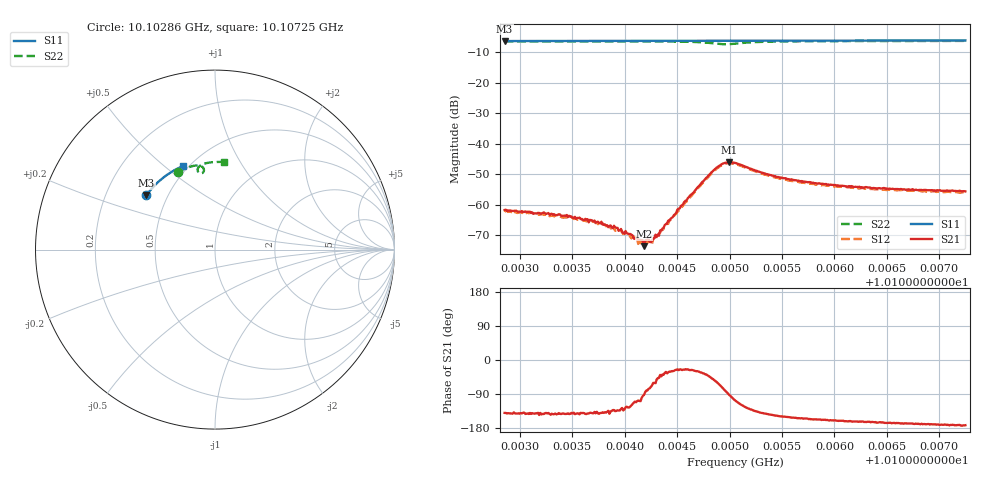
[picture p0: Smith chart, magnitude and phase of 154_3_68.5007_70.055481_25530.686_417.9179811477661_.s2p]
#  HZ  S  RI  R  50.00
! Rohde & Schwarz Vector Network Analyzer
! Rohde-Schwarz,ZNB20-2Port,1311601062101988,3.16
! Created: UTC 3/20/2024, 5:10:40 PM
! freq[Hz]  re:S11  im:S11  re:S21  im:S21  re:S12  im:S12  re:S22  im:S22
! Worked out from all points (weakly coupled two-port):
!   401 points, 10.10286 GHz to 10.10725 GHz, reference 50 ohm
!   highest |S21| = -46.09 dB at 10.105 GHz (marker M1); lowest = -73.7 dB at 10.10418 GHz (marker M2)
!   lowest |S11| = -6.2 dB at 10.10286 GHz (marker M3), VSWR 2.90, Z = 19 + j15.1 ohm
!   |S11| at or under -10 dB: nowhere
!   |S22| runs from -7.3 to -6.2 dB; largest |S21 - S12| = 0.00051
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1.0102856e10  -0.383 0.3016  -0.000621 -0.00053  -0.00056 -0.000516  -0.2083 0.4322
1.0103251e10  -0.3686 0.3207  -0.000535 -0.000453  -0.0005 -0.000471  -0.1846 0.444
1.0103592e10  -0.3554 0.3367  -0.000447 -0.000374  -0.000419 -0.000386  -0.1635 0.453
1.010369e10  -0.3516 0.3412  -0.000422 -0.000351  -0.000382 -0.000367  -0.1572 0.4553
1.0103789e10  -0.3474 0.3458  -0.000352 -0.000315  -0.000338 -0.000362  -0.1506 0.4578
1.010391e10  -0.3424 0.3512  -0.000298 -0.000297  -0.000238 -0.000287  -0.1426 0.4604
1.0104097e10  -0.3346 0.3594  -9.29e-05 -0.000257  -7.97e-05 -0.000253  -0.1291 0.4643
1.010413e10  -0.3332 0.3608  -7.69e-05 -0.00025  -6.42e-05 -0.000217  -0.1267 0.4649
1.0104163e10  -0.3318 0.3622  -4.47e-05 -0.000257  5.63e-06 -0.000253  -0.1242 0.4655
1.0104185e10  -0.331 0.3631  -7.66e-06 -0.000207  -8.66e-07 -0.000223  -0.1225 0.4659
1.0104251e10  -0.328 0.366  7.97e-05 -0.000228  0.0001 -0.000199  -0.1176 0.4669
1.0104327e10  -0.3246 0.3691  0.000209 -0.000227  0.000246 -0.00023  -0.1113 0.4678
1.0104558e10  -0.3144 0.3788  0.000922 -0.00044  0.00091 -0.000331  -0.0895 0.4682
1.0104822e10  -0.3022 0.3893  0.00228 -0.00239  0.00237 -0.00207  -0.0621 0.4473
1.010491e10  -0.2983 0.3924  0.00176 -0.00407  0.00203 -0.00376  -0.0661 0.4303
1.0104997e10  -0.2942 0.3957  -0.000176 -0.00496  0.000281 -0.00481  -0.0842 0.4254
1.0105052e10  -0.2918 0.3979  -0.00138 -0.00464  -0.000882 -0.00457  -0.0933 0.4323
1.0105426e10  -0.2739 0.4117  -0.00243 -0.00163  -0.00219 -0.00178  -0.0757 0.472
1.0105788e10  -0.2559 0.4243  -0.0021 -0.000917  -0.00191 -0.00107  -0.0474 0.482
1.0106107e10  -0.2395 0.4345  -0.0019 -0.000638  -0.00179 -0.00081  -0.0246 0.4857
1.0106524e10  -0.2174 0.4471  -0.00178 -0.000459  -0.00167 -0.00058  0.00394 0.4882
1.0107249e10  -0.1779 0.4659  -0.00163 -0.000227  -0.00157 -0.000358  0.0518 0.4876
